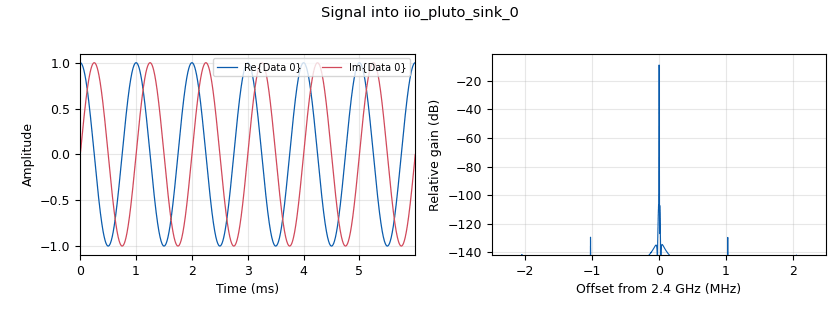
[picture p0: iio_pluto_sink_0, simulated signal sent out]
options:
  parameters:
    generate_options: qt_gui
    id: ece157a_mp3_0
    output_language: python
    title: ece157a_mp3
  states: {}

blocks:
- name: samp_rate
  id: variable
  parameters:
    value: '5000000'
  states: {}
- name: analog_sig_source_x_0
  id: analog_sig_source_x
  parameters:
    amp: '1'
    freq: '1000'
    offset: '0'
    phase: '0'
    samp_rate: samp_rate
    type: complex
    waveform: analog.GR_COS_WAVE
  states: {}
- name: blocks_file_source_0
  id: blocks_file_source
  parameters:
    repeat: 'True'
    type: complex
  states: {state: disabled}
- name: iio_pluto_sink_0
  id: iio_pluto_sink
  parameters:
    attenuation1: '10.0'
    auto_filter: 'True'
    bandwidth: '20000000'
    buffer_size: '32768'
    cyclic: 'False'
    frequency: '2400000000'
    samplerate: samp_rate
  states: {}

connections:
- [analog_sig_source_x_0, '0', iio_pluto_sink_0, '0']
- [blocks_file_source_0, '0', iio_pluto_sink_0, '0']

metadata:
  file_format: 1
